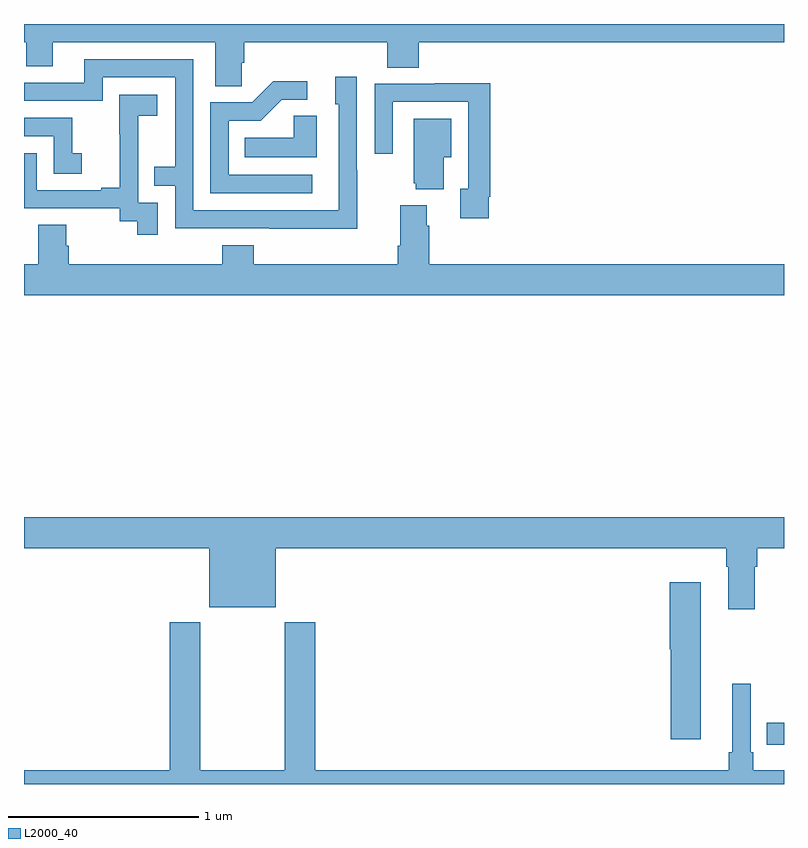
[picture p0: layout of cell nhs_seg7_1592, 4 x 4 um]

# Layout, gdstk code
import gdstk
lib = gdstk.Library(unit=1e-6, precision=1e-09)
def R(c, l, rs):  # rectangles x0, y0, x1, y1
    for r in rs: c.add(gdstk.rectangle(r[:2], r[2:], *l))
def P(c, l, *ps):  # polygons
    for p in ps: c.add(gdstk.Polygon(p, *l))
L2000_40 = (2000, 40)

nhs_seg7_1592 = lib.new_cell('nhs_seg7_1592')
R(nhs_seg7_1592, L2000_40, [(222.91,1042.206,223,1042.322)])
P(nhs_seg7_1592, L2000_40, [(220.146,1045.795),(220.16,1045.795),(220.16,1045.904),(220.913,1045.904),(220.913,1045.771),(221.078,1045.771),(221.078,1045.904),(223,1045.904),(223,1046),(219,1046),(219,1045.904),(219.012,1045.904),(219.012,1045.777),(219.151,1045.777),(219.151,1045.904),(220.007,1045.904),(220.007,1045.672),(220.146,1045.672)],
  [(220.755,1045.229),(220.752,1045.229),(220.752,1045.723),(220.637,1045.723),(220.637,1045.578),(220.656,1045.578),(220.656,1045.02),(219.891,1045.02),(219.891,1045.815),(219.317,1045.815),(219.317,1045.692),(219,1045.692),(219,1045.596),(219.414,1045.596),(219.414,1045.719),(219.795,1045.719),(219.795,1045.25),(219.685,1045.25),(219.685,1045.149),(219.795,1045.149),(219.795,1044.924),(220.291,1044.924),(220.291,1044.923),(220.755,1044.923)],
  [(220.516,1045.206),(220.077,1045.206),(220.077,1045.491),(220.246,1045.491),(220.357,1045.602),(220.492,1045.602),(220.492,1045.7),(220.313,1045.7),(220.2,1045.587),(219.981,1045.587),(219.981,1045.11),(220.516,1045.11)],
  [(221.446,1045.09),(221.453,1045.09),(221.453,1045.688),(221.161,1045.688),(221.161,1045.686),(220.845,1045.686),(220.845,1045.317),(220.941,1045.317),(220.941,1045.59),(221.337,1045.59),(221.337,1045.134),(221.297,1045.134),(221.297,1044.978),(221.446,1044.978)],
  [(219.705,1045.059),(219.6,1045.059),(219.6,1045.289),(219.602,1045.289),(219.602,1045.517),(219.7,1045.517),(219.7,1045.627),(219.502,1045.627),(219.502,1045.421),(219.503,1045.421),(219.503,1045.138),(219.407,1045.138),(219.407,1045.125),(219.066,1045.125),(219.066,1045.32),(219,1045.32),(219,1045.029),(219.504,1045.029),(219.504,1044.961),(219.597,1044.961),(219.597,1044.891),(219.705,1044.891)],
  [(220.54,1045.517),(220.419,1045.517),(220.419,1045.402),(220.162,1045.402),(220.162,1045.298),(220.54,1045.298)],
  [(219.304,1045.321),(219.255,1045.321),(219.255,1045.506),(219,1045.506),(219,1045.41),(219.156,1045.41),(219.156,1045.212),(219.304,1045.212)],
  [(221.209,1045.298),(221.248,1045.298),(221.248,1045.501),(221.051,1045.501),(221.051,1045.161),(221.063,1045.161),(221.063,1045.13),(221.209,1045.13)],
  [(223,1044.736),(221.132,1044.736),(221.132,1044.938),(221.119,1044.938),(221.119,1045.045),(220.979,1045.045),(220.979,1044.832),(220.967,1044.832),(220.967,1044.736),(220.208,1044.736),(220.208,1044.835),(220.043,1044.835),(220.043,1044.736),(219.236,1044.736),(219.236,1044.834),(219.223,1044.834),(219.223,1044.944),(219.076,1044.944),(219.076,1044.736),(219,1044.736),(219,1044.572),(223,1044.572)],
  [(222.847,1043.144),(222.86,1043.144),(222.86,1043.24),(223,1043.24),(223,1043.404),(219,1043.404),(219,1043.24),(219.974,1043.24),(219.974,1042.931),(220.324,1042.931),(220.324,1043.24),(222.695,1043.24),(222.695,1043.144),(222.707,1043.144),(222.707,1042.92),(222.847,1042.92)],
  [(222.562,1043.062),(222.398,1043.062),(222.398,1042.71),(222.404,1042.71),(222.404,1042.236),(222.562,1042.236)],
  [(223,1042.072),(222.839,1042.072),(222.839,1042.168),(222.825,1042.168),(222.825,1042.528),(222.728,1042.528),(222.728,1042.168),(222.709,1042.168),(222.709,1042.072),(220.532,1042.072),(220.532,1042.852),(220.372,1042.852),(220.372,1042.072),(219.927,1042.072),(219.927,1042.852),(219.767,1042.852),(219.767,1042.072),(219,1042.072),(219,1042),(223,1042)])

lib.write_gds('nhs_seg7_1592.gds')
